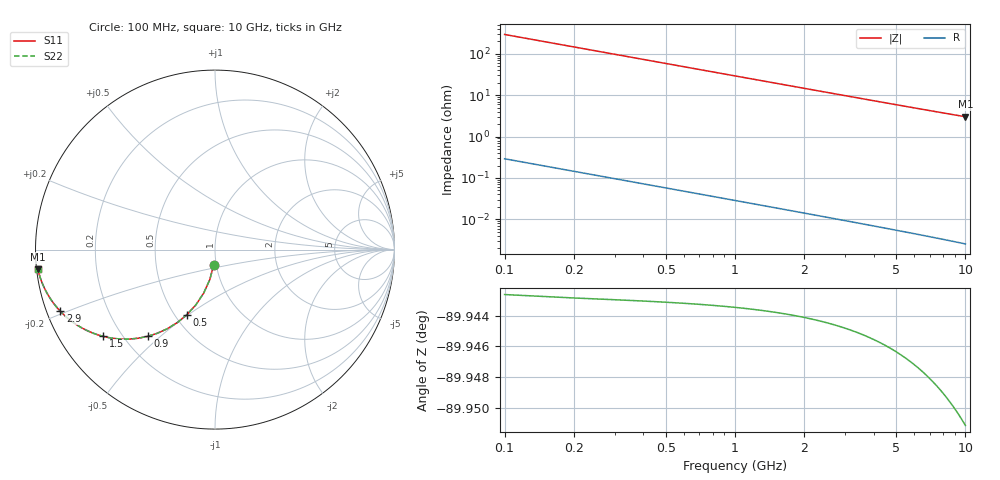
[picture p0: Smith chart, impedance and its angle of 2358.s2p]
# Hz S RI R 50.00
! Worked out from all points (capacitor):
!   100 points, 100 MHz to 10 GHz, reference 50 ohm
!   read as one part in shunt: C = 5.48 pF near 100 MHz
!   lowest |Z| = 3.01 ohm at 10 GHz (marker M1)
!   S11 on the Smith chart (normalised r, x): 100 MHz: 0.97, -0.17; 500 MHz: 0.57, -0.49; 900 MHz: 0.29, -0.46; 1.5 GHz: 0.13, -0.34; 2.9 GHz: 0.04, -0.19; 10 GHz: 0.00, -0.06
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1e8  -0.00742 -0.0854  0.9925 -0.0855  0.9925 -0.0855  -0.00742 -0.0854
2e8  -0.0289 -0.167  0.9711 -0.1672  0.9711 -0.1672  -0.0289 -0.167
3e8  -0.0627 -0.2418  0.9373 -0.242  0.9373 -0.242  -0.0627 -0.2418
4e8  -0.1061 -0.3074  0.8938 -0.3077  0.8938 -0.3077  -0.1061 -0.3074
5e8  -0.1564 -0.3625  0.8435 -0.363  0.8435 -0.363  -0.1564 -0.3625
6e8  -0.2107 -0.407  0.7893 -0.4075  0.7893 -0.4075  -0.2107 -0.407
7e8  -0.2664 -0.4413  0.7336 -0.4419  0.7336 -0.4419  -0.2664 -0.4413
9e8  -0.3749 -0.4832  0.6251 -0.484  0.6251 -0.484  -0.3749 -0.4832
1e9  -0.4254 -0.4935  0.5746 -0.4943  0.5746 -0.4943  -0.4254 -0.4935
1.2e9  -0.5158 -0.4987  0.4842 -0.4998  0.4842 -0.4998  -0.5158 -0.4987
1.5e9  -0.6245 -0.4831  0.3755 -0.4844  0.3755 -0.4844  -0.6245 -0.4831
1.8e9  -0.7053 -0.4546  0.2947 -0.4562  0.2947 -0.4562  -0.7053 -0.4546
2e9  -0.747 -0.4333  0.2529 -0.4351  0.2529 -0.4351  -0.747 -0.4333
2.3e9  -0.796 -0.4014  0.2039 -0.4034  0.2039 -0.4034  -0.796 -0.4014
2.6e9  -0.8329 -0.3714  0.1671 -0.3737  0.1671 -0.3737  -0.8329 -0.3714
2.9e9  -0.8611 -0.3441  0.1389 -0.3466  0.1389 -0.3466  -0.8611 -0.3441
3.4e9  -0.8949 -0.3047  0.1051 -0.3077  0.1051 -0.3077  -0.8949 -0.3047
4.2e9  -0.9284 -0.2554  0.0715 -0.2591  0.0715 -0.2591  -0.9284 -0.2554
5.1e9  -0.9503 -0.2145  0.0497 -0.2191  0.0497 -0.2191  -0.9503 -0.2145
6.7e9  -0.9706 -0.1654  0.0294 -0.1715  0.0294 -0.1715  -0.9706 -0.1654
8.4e9  -0.9811 -0.1318  0.0188 -0.1394  0.0188 -0.1394  -0.9811 -0.1318
1e10  -0.9866 -0.1097  0.0133 -0.1188  0.0133 -0.1188  -0.9866 -0.1097
